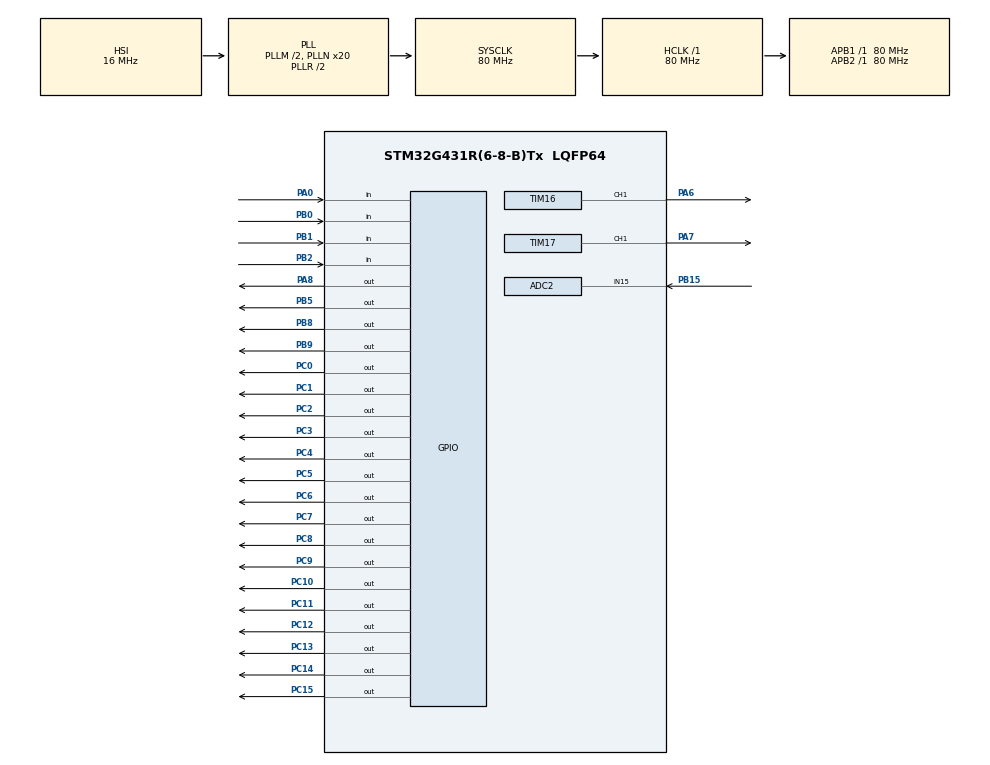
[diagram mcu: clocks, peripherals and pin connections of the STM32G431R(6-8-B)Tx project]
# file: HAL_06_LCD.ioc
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ADC2.Channel-0\#ChannelRegularConversion=ADC_CHANNEL_15
ADC2.NbrOfConversionFlag=1
ADC2.OffsetNumber-0\#ChannelRegularConversion=ADC_OFFSET_NONE
ADC2.Rank-0\#ChannelRegularConversion=1
ADC2.SamplingTime-0\#ChannelRegularConversion=ADC_SAMPLETIME_2CYCLES_5
Mcu.Family=STM32G4
Mcu.Name=STM32G431R(6-8-B)Tx
Mcu.Package=LQFP64
NVIC.PriorityGroup=NVIC_PRIORITYGROUP_4
NVIC.TIM3_IRQn=true\:0\:0\:false\:false\:true\:true\:true\:true
PA0.GPIO_Mode=GPIO_MODE_INPUT
PA0.GPIO_PuPd=GPIO_PULLUP
PA0.Signal=GPIO_Input
PA6.Signal=S_TIM16_CH1
PA7.Signal=S_TIM17_CH1
PA8.Signal=GPIO_Output
PB0.GPIO_Mode=GPIO_MODE_INPUT
PB0.GPIO_PuPd=GPIO_PULLUP
PB0.Signal=GPIO_Input
PB1.GPIO_Mode=GPIO_MODE_INPUT
PB1.GPIO_PuPd=GPIO_PULLUP
PB1.Signal=GPIO_Input
PB15.Mode=IN15-Single-Ended
PB15.Signal=ADC2_IN15
PB2.GPIO_Mode=GPIO_MODE_INPUT
PB2.GPIO_PuPd=GPIO_PULLUP
PB2.Signal=GPIO_Input
PB5.Signal=GPIO_Output
PB8-BOOT0.Signal=GPIO_Output
PB9.Signal=GPIO_Output
PC0.Signal=GPIO_Output
PC1.Signal=GPIO_Output
PC10.Signal=GPIO_Output
PC11.Signal=GPIO_Output
PC12.Signal=GPIO_Output
PC13.Signal=GPIO_Output
PC14-OSC32_IN.Signal=GPIO_Output
PC15-OSC32_OUT.Signal=GPIO_Output
PC2.Signal=GPIO_Output
PC3.Signal=GPIO_Output
PC4.Signal=GPIO_Output
PC5.Signal=GPIO_Output
PC6.Signal=GPIO_Output
PC7.Signal=GPIO_Output
PC8.Signal=GPIO_Output
PC9.Signal=GPIO_Output
PF0-OSC_IN.Mode=HSE-External-Oscillator
PF0-OSC_IN.Signal=RCC_OSC_IN
PF1-OSC_OUT.Mode=HSE-External-Oscillator
PF1-OSC_OUT.Signal=RCC_OSC_OUT
ProjectManager.HeapSize=0x200
ProjectManager.StackSize=0x400
ProjectManager.TargetToolchain=MDK-ARM V5.27
RCC.ADC12Freq_Value=80000000
RCC.AHBFreq_Value=80000000
RCC.APB1Freq_Value=80000000
RCC.APB1TimFreq_Value=80000000
RCC.APB2Freq_Value=80000000
RCC.APB2TimFreq_Value=80000000
RCC.CortexFreq_Value=80000000
RCC.EXTERNAL_CLOCK_VALUE=12288000
RCC.HCLKFreq_Value=80000000
RCC.HSE_VALUE=24000000
RCC.HSI48_VALUE=48000000
RCC.HSI_VALUE=16000000
RCC.LSE_VALUE=32768
RCC.PLLM=RCC_PLLM_DIV2
RCC.PLLN=20
RCC.SYSCLKFreq_VALUE=80000000
RCC.SYSCLKSource=RCC_SYSCLKSOURCE_PLLCLK
RCC.USBFreq_Value=80000000
RCC.VCOOutputFreq_Value=160000000
SH.S_TIM16_CH1.0=TIM16_CH1,PWM Generation1 CH1
SH.S_TIM17_CH1.0=TIM17_CH1,PWM Generation1 CH1
TIM16.Channel=TIM_CHANNEL_1
TIM16.PeriodNoDither=100-1
TIM16.Prescaler=8000-1
TIM16.PulseNoDither_1=10-1
TIM17.Channel=TIM_CHANNEL_1
TIM17.PeriodNoDither=100-1
TIM17.Prescaler=4000-1
TIM17.PulseNoDither_1=10-1
TIM3.PeriodNoDither=10000-1
TIM3.Prescaler=80-1
VP_SYS_VS_DBSignals.Mode=DisableDeadBatterySignals
VP_TIM16_VS_ClockSourceINT.Mode=Enable_Timer
VP_TIM17_VS_ClockSourceINT.Mode=Enable_Timer
VP_TIM3_VS_ClockSourceINT.Mode=Internal
board=custom

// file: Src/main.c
/* USER CODE BEGIN Header */
/**
  ******************************************************************************
  * @file           : main.c
  * @brief          : Main program body
  ******************************************************************************
  * @attention
  *
  * <h2><center>&copy; Copyright (c) 2021 STMicroelectronics.
  * All rights reserved.</center></h2>
  *
  * This software component is licensed by ST under BSD 3-Clause license,
  * the "License"; You may not use this file except in compliance with the
  * License. You may obtain a copy of the License at:
  *                        opensource.org/licenses/BSD-3-Clause
  *
  ******************************************************************************
  */
/* USER CODE END Header */
#include "main.h"
#include "adc.h"
#include "tim.h"
#include "gpio.h"

/* USER CODE BEGIN PV */
uint8_t view=0;
uint8_t mode=0;//0�Զ���1�ֶ�
extern struct keys key[4];

uint8_t pa6_duty=10-1;
uint8_t pa7_duty=10-1;

/* USER CODE END PV */

void SystemClock_Config(void);
/* USER CODE BEGIN PFP */
void key_proc(void);
void disp_proc(void);
void pwm_proc(void);

/* USER CODE END PFP */

int main(void)
{

  /* MCU Configuration--------------------------------------------------------*/

  /* Reset of all peripherals, Initializes the Flash interface and the Systick. */
  HAL_Init();

  /* Configure the system clock */
  SystemClock_Config();

  /* Initialize all configured peripherals */
  MX_GPIO_Init();
  MX_TIM3_Init();
  MX_TIM16_Init();
  MX_TIM17_Init();
  MX_ADC2_Init();
  /* USER CODE BEGIN 2 */

	LCD_Init();
	HAL_TIM_Base_Start_IT(&htim3);
	HAL_TIM_PWM_Start(&htim16,TIM_CHANNEL_1);
	__HAL_TIM_SetCompare(&htim16,TIM_CHANNEL_1,10-1);
	HAL_TIM_PWM_Start(&htim17,TIM_CHANNEL_1);
	__HAL_TIM_SetCompare(&htim17,TIM_CHANNEL_1,10-1);

  /* USER CODE END 2 */

  /* Infinite loop */
  /* USER CODE BEGIN WHILE */

	LCD_Clear(Black);
	LCD_SetBackColor(Black);
	LCD_SetTextColor(White);

  while (1)
  {
    /* USER CODE END WHILE */

    /* USER CODE BEGIN 3 */

		key_proc();
		disp_proc();
		pwm_proc();

  }
  /* USER CODE END 3 */
}

void SystemClock_Config(void)
{
  RCC_OscInitTypeDef RCC_OscInitStruct = {0};
  RCC_ClkInitTypeDef RCC_ClkInitStruct = {0};

  /** Configure the main internal regulator output voltage
  */
  HAL_PWREx_ControlVoltageScaling(PWR_REGULATOR_VOLTAGE_SCALE1);

  /** Initializes the RCC Oscillators according to the specified parameters
  * in the RCC_OscInitTypeDef structure.
  */
  RCC_OscInitStruct.OscillatorType = RCC_OSCILLATORTYPE_HSI;
  RCC_OscInitStruct.HSIState = RCC_HSI_ON;
  RCC_OscInitStruct.HSICalibrationValue = RCC_HSICALIBRATION_DEFAULT;
  RCC_OscInitStruct.PLL.PLLState = RCC_PLL_ON;
  RCC_OscInitStruct.PLL.PLLSource = RCC_PLLSOURCE_HSI;
  RCC_OscInitStruct.PLL.PLLM = RCC_PLLM_DIV2;
  RCC_OscInitStruct.PLL.PLLN = 20;
  RCC_OscInitStruct.PLL.PLLP = RCC_PLLP_DIV2;
  RCC_OscInitStruct.PLL.PLLQ = RCC_PLLQ_DIV2;
  RCC_OscInitStruct.PLL.PLLR = RCC_PLLR_DIV2;
  if (HAL_RCC_OscConfig(&RCC_OscInitStruct) != HAL_OK)
  {
    Error_Handler();
  }

  /** Initializes the CPU, AHB and APB buses clocks
  */
  RCC_ClkInitStruct.ClockType = RCC_CLOCKTYPE_HCLK|RCC_CLOCKTYPE_SYSCLK
                              |RCC_CLOCKTYPE_PCLK1|RCC_CLOCKTYPE_PCLK2;
  RCC_ClkInitStruct.SYSCLKSource = RCC_SYSCLKSOURCE_PLLCLK;
  RCC_ClkInitStruct.AHBCLKDivider = RCC_SYSCLK_DIV1;
  RCC_ClkInitStruct.APB1CLKDivider = RCC_HCLK_DIV1;
  RCC_ClkInitStruct.APB2CLKDivider = RCC_HCLK_DIV1;

  if (HAL_RCC_ClockConfig(&RCC_ClkInitStruct, FLASH_LATENCY_2) != HAL_OK)
  {
    Error_Handler();
  }
}

/* USER CODE BEGIN 4 */
void key_proc()
{
	if(key[0].key_single==1)
	{
		view=!view;
		key[0].key_single=0;
	}
	if(key[1].key_single==1)
	{
		if((view==1)&&(mode==1))
		{
			pa6_duty+=10;
			if(pa6_duty>90-1)
				pa6_duty=10-1;
		}
		key[1].key_single=0;
	}
	if(key[2].key_single==1)
	{
		if((view==1)&&(mode==1))
		{
			pa7_duty+=10;
			if(pa7_duty>90-1)
				pa7_duty=10-1;
		}
		key[2].key_single=0;
	}
	if(key[3].key_single==1)
	{
		mode=!mode;
		key[3].key_single=0;
	}
}

void disp_proc()
{
	if(view==0)
	{
		char text[20];
		sprintf(text,"      Data   ");
		LCD_DisplayStringLine(Line0, (uint8_t *)text);
		sprintf(text,"    V:%.2fV      ",get_adc(&hadc2));
		LCD_DisplayStringLine(Line2, (uint8_t *)text);
		if(mode==0)
		{
			sprintf(text,"    Mode:AUTO     ");
			LCD_DisplayStringLine(Line4, (uint8_t *)text);
		}
		if(mode==1)
		{
			sprintf(text,"    Mode:MANU     ");
			LCD_DisplayStringLine(Line4, (uint8_t *)text);
		}
		sprintf(text,"  AUTO PA:%d%%   ",(int)(get_adc(&hadc2)/3.3*100)/1);
		LCD_DisplayStringLine(Line6, (uint8_t *)text);
	}
	if(view==1)
	{
		char text[20];
		sprintf(text,"      Para   ");
		LCD_DisplayStringLine(Line0, (uint8_t *)text);
		sprintf(text,"    PA6:%d%%   ",pa6_duty+1);
		LCD_DisplayStringLine(Line2, (uint8_t *)text);
		sprintf(text,"    PA7:%d%%   ",pa7_duty+1);
		LCD_DisplayStringLine(Line4, (uint8_t *)text);
	}
}

void pwm_proc()
{
	if(mode==1)
	{
		__HAL_TIM_SetCompare(&htim16,TIM_CHANNEL_1,pa6_duty);
		__HAL_TIM_SetCompare(&htim17,TIM_CHANNEL_1,pa7_duty);
	}
	if(mode==0)
	{
		__HAL_TIM_SetCompare(&htim16,TIM_CHANNEL_1,(int)(get_adc(&hadc2)/3.3*100)/1);
		__HAL_TIM_SetCompare(&htim17,TIM_CHANNEL_1,(int)(get_adc(&hadc2)/3.3*100)/1);
	}
}
/* USER CODE END 4 */

void Error_Handler(void)
{
}
